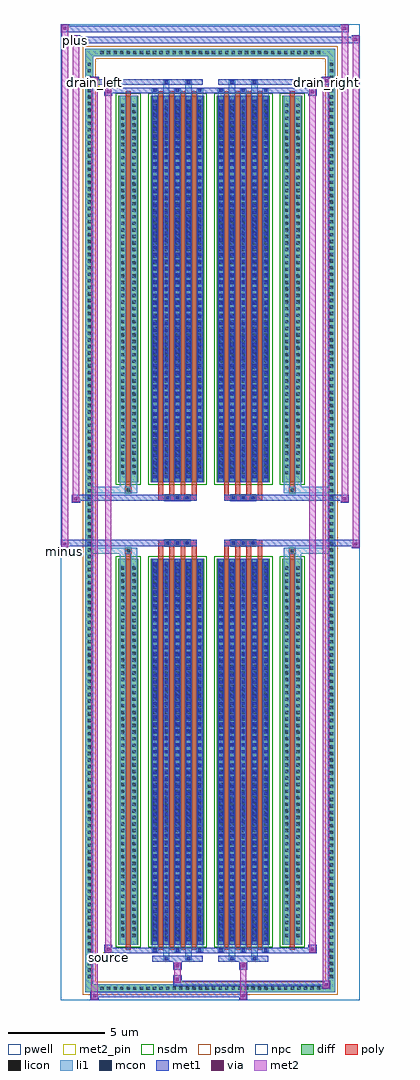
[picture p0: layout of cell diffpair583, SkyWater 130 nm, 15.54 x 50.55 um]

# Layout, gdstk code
import gdstk
lib = gdstk.Library(unit=1e-6, precision=5e-09)
def R(c, l, rs):  # rectangles x0, y0, x1, y1
    for r in rs: c.add(gdstk.rectangle(r[:2], r[2:], *l))
def A(c, l, x, y, w, h, nx, ny, dx, dy):  # array of equal rectangles
    R(c, l, [(x+i*dx, y+j*dy, x+i*dx+w, y+j*dy+h) for i in range(nx) for j in range(ny)])
def P(c, l, *ps):  # polygons
    for p in ps: c.add(gdstk.Polygon(p, *l))
pwell = (64, 44)
diff = (65, 20)
poly = (66, 20)
licon = (66, 44)
li1 = (67, 20)
mcon = (67, 44)
met1 = (68, 20)
via = (68, 44)
met2_pin = (69, 16)
met2 = (69, 20)
nsdm = (93, 44)
psdm = (94, 20)
npc = (95, 20)

diffpair583 = lib.new_cell('diffpair583')
R(diffpair583, pwell, [(-7.75,-24.84,7.75,25.71), (-5.07,-23.03,-0.01,-0.805), (0.01,-23.03,5.07,-0.805), (-5.07,0.805,-0.01,23.03), (0.01,0.805,5.07,23.03)])
A(diffpair583, diff, -5.815, -24.44, 0.41, 0.41, 34, 2, 0.34, 48.47)
A(diffpair583, diff, -6.48, -23.835, 0.41, 0.41, 1, 140, 0, 0.34)
A(diffpair583, diff, 6.07, -23.835, 0.41, 0.41, 1, 140, 0, 0.34)
R(diffpair583, diff, [(-5.815,-24.44,5.815,-24.03), (-6.48,-23.835,-6.07,23.835), (6.07,-23.835,6.48,23.835), (-4.76,-21.985,-3.73,-1.985), (-3.09,-21.985,-0.32,-1.985), (0.32,-21.985,3.09,-1.985), (3.73,-21.985,4.76,-1.985), (-4.76,1.985,-3.73,21.985), (-3.09,1.985,-0.32,21.985), (0.32,1.985,3.09,21.985), (3.73,1.985,4.76,21.985), (-5.815,24.03,5.815,24.44)])
P(diffpair583, diff, [(6.48,24.44),(-6.48,24.44),(-6.48,-24.03),(-6.07,-24.03),(-6.07,24.03),(6.07,24.03),(6.07,-24.03),(-6.07,-24.03),(-6.48,-24.03),(-6.48,-24.44),(6.48,-24.44)])
A(diffpair583, poly, -2.7, -22.235, 0.25, 20.5, 4, 2, 0.58, 23.97)
A(diffpair583, poly, 0.71, -22.235, 0.25, 20.5, 4, 2, 0.58, 23.97)
A(diffpair583, poly, -2.7, -1.735, 0.25, 0.4, 4, 2, 0.58, 3.07)
A(diffpair583, poly, 0.71, -1.735, 0.25, 0.4, 4, 2, 0.58, 3.07)
A(diffpair583, poly, -2.37, -1.335, 0.33, 0.33, 3, 2, 0.5, 2.34)
A(diffpair583, poly, 1.04, -1.335, 0.33, 0.33, 3, 2, 0.5, 2.34)
R(diffpair583, poly, [(-4.37,-22.235,-4.12,-1.735), (4.12,-22.235,4.37,-1.735), (-4.41,-1.735,-4.08,-1.405), (-4.41,-1.735,-4.08,-1.405), (4.08,-1.735,4.41,-1.405), (4.08,-1.735,4.41,-1.405), (-2.7,-1.335,-0.71,-1.005), (0.71,-1.335,2.7,-1.005), (-2.7,1.005,-0.71,1.335), (0.71,1.005,2.7,1.335), (-4.41,1.405,-4.08,1.735), (-4.41,1.405,-4.08,1.735), (4.08,1.405,4.41,1.735), (4.08,1.405,4.41,1.735), (-4.37,1.735,-4.12,22.235), (4.12,1.735,4.37,22.235)])
A(diffpair583, licon, -5.695, -24.32, 0.17, 0.17, 34, 2, 0.34, 48.47)
A(diffpair583, licon, -6.36, -23.715, 0.17, 0.17, 1, 140, 0, 0.34)
A(diffpair583, licon, 6.19, -23.715, 0.17, 0.17, 1, 140, 0, 0.34)
A(diffpair583, licon, -4.62, -21.59, 0.17, 0.17, 1, 57, 0, 0.34)
A(diffpair583, licon, -4.04, -21.59, 0.17, 0.17, 1, 57, 0, 0.34)
A(diffpair583, licon, -2.95, -21.59, 0.17, 0.17, 5, 57, 0.58, 0.34)
A(diffpair583, licon, 0.46, -21.59, 0.17, 0.17, 5, 57, 0.58, 0.34)
A(diffpair583, licon, 3.87, -21.59, 0.17, 0.17, 1, 57, 0, 0.34)
A(diffpair583, licon, 4.45, -21.59, 0.17, 0.17, 1, 57, 0, 0.34)
A(diffpair583, licon, -2.29, -1.255, 0.17, 0.17, 3, 2, 0.5, 2.34)
A(diffpair583, licon, 1.12, -1.255, 0.17, 0.17, 3, 2, 0.5, 2.34)
A(diffpair583, licon, -4.62, 2.38, 0.17, 0.17, 1, 57, 0, 0.34)
A(diffpair583, licon, -4.04, 2.38, 0.17, 0.17, 1, 57, 0, 0.34)
A(diffpair583, licon, -2.95, 2.38, 0.17, 0.17, 5, 57, 0.58, 0.34)
A(diffpair583, licon, 0.46, 2.38, 0.17, 0.17, 5, 57, 0.58, 0.34)
A(diffpair583, licon, 3.87, 2.38, 0.17, 0.17, 1, 57, 0, 0.34)
A(diffpair583, licon, 4.45, 2.38, 0.17, 0.17, 1, 57, 0, 0.34)
R(diffpair583, licon, [(-4.33,-1.655,-4.16,-1.485), (4.16,-1.655,4.33,-1.485), (-4.33,1.485,-4.16,1.655), (4.16,1.485,4.33,1.655)])
A(diffpair583, li1, -5.775, -24.4, 0.33, 0.33, 34, 2, 0.34, 48.47)
A(diffpair583, li1, -6.44, -23.795, 0.33, 0.33, 1, 140, 0, 0.34)
A(diffpair583, li1, 6.11, -23.795, 0.33, 0.33, 1, 140, 0, 0.34)
A(diffpair583, li1, -3.03, -22.36, 0.33, 0.375, 3, 2, 1.16, 44.345)
A(diffpair583, li1, -2.95, -22.36, 0.17, 0.17, 3, 2, 1.16, 44.55)
A(diffpair583, li1, 0.38, -22.36, 0.33, 0.375, 3, 2, 1.16, 44.345)
A(diffpair583, li1, 0.46, -22.36, 0.17, 0.17, 3, 2, 1.16, 44.55)
A(diffpair583, li1, -3.03, -21.985, 0.33, 20, 5, 2, 0.58, 23.97)
A(diffpair583, li1, 0.38, -21.985, 0.33, 20, 5, 2, 0.58, 23.97)
A(diffpair583, li1, -2.95, -21.79, 0.17, 0.17, 5, 55, 0.58, 0.36)
A(diffpair583, li1, -2.95, -21.79, 0.17, 19.61, 5, 2, 0.58, 23.97)
A(diffpair583, li1, 0.46, -21.79, 0.17, 0.17, 5, 55, 0.58, 0.36)
A(diffpair583, li1, 0.46, -21.79, 0.17, 19.61, 5, 2, 0.58, 23.97)
A(diffpair583, li1, -4.7, -21.67, 0.33, 0.33, 1, 57, 0, 0.34)
A(diffpair583, li1, -4.12, -21.67, 0.33, 0.33, 1, 57, 0, 0.34)
A(diffpair583, li1, -3.03, -21.67, 0.33, 0.33, 5, 57, 0.58, 0.34)
A(diffpair583, li1, 0.38, -21.67, 0.33, 0.33, 5, 57, 0.58, 0.34)
A(diffpair583, li1, 3.79, -21.67, 0.33, 0.33, 1, 57, 0, 0.34)
A(diffpair583, li1, 4.37, -21.67, 0.33, 0.33, 1, 57, 0, 0.34)
A(diffpair583, li1, -2.37, -1.335, 0.33, 0.33, 3, 2, 0.5, 2.34)
A(diffpair583, li1, 1.04, -1.335, 0.33, 0.33, 3, 2, 0.5, 2.34)
A(diffpair583, li1, -2.95, 2.18, 0.17, 0.17, 5, 55, 0.58, 0.36)
A(diffpair583, li1, 0.46, 2.18, 0.17, 0.17, 5, 55, 0.58, 0.36)
A(diffpair583, li1, -4.7, 2.3, 0.33, 0.33, 1, 57, 0, 0.34)
A(diffpair583, li1, -4.12, 2.3, 0.33, 0.33, 1, 57, 0, 0.34)
A(diffpair583, li1, -3.03, 2.3, 0.33, 0.33, 5, 57, 0.58, 0.34)
A(diffpair583, li1, 0.38, 2.3, 0.33, 0.33, 5, 57, 0.58, 0.34)
A(diffpair583, li1, 3.79, 2.3, 0.33, 0.33, 1, 57, 0, 0.34)
A(diffpair583, li1, 4.37, 2.3, 0.33, 0.33, 1, 57, 0, 0.34)
R(diffpair583, li1, [(-6.48,-24.44,-6.07,-24.03), (-6.48,-24.44,-6.07,-24.03), (-6.07,-24.44,6.07,-24.03), (6.07,-24.44,6.48,-24.03), (6.07,-24.44,6.48,-24.03), (-6.48,-24.03,-6.07,24.03), (6.07,-24.03,6.48,24.03), (-2.45,-22.79,-2.12,-21.985), (-2.37,-22.79,-2.2,-22.62), (-1.29,-22.79,-0.96,-21.985), (-1.21,-22.79,-1.04,-22.62), (0.96,-22.79,1.29,-21.985), (1.04,-22.79,1.21,-22.62), (2.12,-22.79,2.45,-21.985), (2.2,-22.79,2.37,-22.62), (-4.7,-21.985,-4.37,-1.985), (-4.12,-21.985,-3.79,-1.985), (3.79,-21.985,4.12,-1.985), (4.37,-21.985,4.7,-1.985), (-4.7,-1.985,-4.37,-1.405), (-4.12,-1.985,-3.79,-1.405), (3.79,-1.985,4.12,-1.405), (4.37,-1.985,4.7,-1.405), (-6.48,-1.735,-4.41,-1.405), (-4.7,-1.735,-4.41,-1.405), (-4.41,-1.735,-4.08,-1.405), (-4.08,-1.735,-3.79,-1.405), (3.79,-1.735,4.08,-1.405), (4.08,-1.735,4.41,-1.405), (4.08,-1.735,6.48,-1.405), (4.41,-1.735,4.7,-1.405), (-6.48,1.405,-4.41,1.735), (-4.7,1.405,-4.41,1.735), (-4.7,1.405,-4.37,1.985), (-4.41,1.405,-4.08,1.735), (-4.12,1.405,-3.79,1.985), (-4.08,1.405,-3.79,1.735), (3.79,1.405,4.08,1.735), (3.79,1.405,4.12,1.985), (4.08,1.405,4.41,1.735), (4.08,1.405,6.48,1.735), (4.37,1.405,4.7,1.985), (4.41,1.405,4.7,1.735), (-4.7,1.985,-4.37,21.985), (-4.12,1.985,-3.79,21.985), (3.79,1.985,4.12,21.985), (4.37,1.985,4.7,21.985), (-2.45,21.985,-2.12,22.79), (-1.29,21.985,-0.96,22.79), (0.96,21.985,1.29,22.79), (2.12,21.985,2.45,22.79), (-2.37,22.62,-2.2,22.79), (-1.21,22.62,-1.04,22.79), (1.04,22.62,1.21,22.79), (2.2,22.62,2.37,22.79), (-6.48,24.03,-6.07,24.44), (-6.48,24.03,-6.07,24.44), (-6.07,24.03,6.07,24.44), (6.07,24.03,6.48,24.44), (6.07,24.03,6.48,24.44)])
A(diffpair583, mcon, -2.95, -22.36, 0.17, 0.17, 3, 2, 1.16, 44.55)
A(diffpair583, mcon, 0.46, -22.36, 0.17, 0.17, 3, 2, 1.16, 44.55)
A(diffpair583, mcon, -2.95, -21.79, 0.17, 0.17, 5, 55, 0.58, 0.36)
A(diffpair583, mcon, 0.46, -21.79, 0.17, 0.17, 5, 55, 0.58, 0.36)
A(diffpair583, mcon, -2.29, -1.255, 0.17, 0.17, 3, 2, 0.5, 2.34)
A(diffpair583, mcon, 1.12, -1.255, 0.17, 0.17, 3, 2, 0.5, 2.34)
A(diffpair583, mcon, -2.95, 2.18, 0.17, 0.17, 5, 55, 0.58, 0.36)
A(diffpair583, mcon, 0.46, 2.18, 0.17, 0.17, 5, 55, 0.58, 0.36)
R(diffpair583, mcon, [(-2.37,-22.79,-2.2,-22.62), (-1.21,-22.79,-1.04,-22.62), (1.04,-22.79,1.21,-22.62), (2.2,-22.79,2.37,-22.62), (-2.37,22.62,-2.2,22.79), (-1.21,22.62,-1.04,22.79), (1.04,22.62,1.21,22.79), (2.2,22.62,2.37,22.79)])
A(diffpair583, met1, -3.01, -22.42, 0.29, 0.29, 3, 2, 1.16, 44.55)
A(diffpair583, met1, 0.4, -22.42, 0.29, 0.29, 3, 2, 1.16, 44.55)
A(diffpair583, met1, -3.01, -21.985, 0.29, 20, 5, 2, 0.58, 23.97)
A(diffpair583, met1, 0.4, -21.985, 0.29, 20, 5, 2, 0.58, 23.97)
A(diffpair583, met1, -3.01, -21.85, 0.29, 0.29, 5, 55, 0.58, 0.36)
A(diffpair583, met1, 0.4, -21.85, 0.29, 0.29, 5, 55, 0.58, 0.36)
A(diffpair583, met1, -2.35, -1.315, 0.29, 0.29, 3, 2, 0.5, 2.34)
A(diffpair583, met1, 1.06, -1.315, 0.29, 0.29, 3, 2, 0.5, 2.34)
A(diffpair583, met1, -3.01, 2.12, 0.29, 0.29, 5, 55, 0.58, 0.36)
A(diffpair583, met1, 0.4, 2.12, 0.29, 0.29, 5, 55, 0.58, 0.36)
R(diffpair583, met1, [(-6.21,-24.84,-5.78,-24.41), (1.49,-24.84,1.92,-24.41), (-6.21,-24.7,1.92,-24.41), (5.78,-24.27,6.21,-23.84), (-1.92,-24.13,6.21,-23.84), (-1.92,-23.99,-1.49,-23.56), (-1.92,-23.28,-1.49,-22.85), (1.49,-23.28,1.92,-22.85), (-3.01,-22.85,-0.4,-22.56), (-2.43,-22.85,-2.14,-22.56), (-1.27,-22.85,-0.98,-22.56), (0.4,-22.85,3.01,-22.56), (0.98,-22.85,1.27,-22.56), (2.14,-22.85,2.43,-22.56), (-5.5,-22.42,-5.07,-21.99), (-5.5,-22.42,-3.01,-22.13), (-3.01,-22.42,-0.4,-22.13), (-0.4,-22.42,0.4,-22.13), (0.4,-22.42,3.01,-22.13), (3.01,-22.42,5.5,-22.13), (5.07,-22.42,5.5,-21.99), (-7.75,-1.435,-7.32,-1.005), (7.32,-1.435,7.75,-1.005), (-7.75,-1.335,-0.71,-1.005), (-2.7,-1.335,-0.71,-1.005), (0.71,-1.335,2.7,-1.005), (0.71,-1.335,7.75,-1.005), (-7.18,0.905,-6.75,1.335), (6.75,0.905,7.18,1.335), (-7.18,1.005,-2.7,1.335), (-2.7,1.005,-0.71,1.335), (0.71,1.005,2.7,1.335), (2.7,1.005,7.18,1.335), (-5.5,21.99,-5.07,22.42), (5.07,21.99,5.5,22.42), (-5.5,22.13,-3.01,22.42), (-3.01,22.13,-0.4,22.42), (-0.4,22.13,0.4,22.42), (0.4,22.13,3.01,22.42), (3.01,22.13,5.5,22.42), (-6.21,22.56,-5.78,22.99), (-6.21,22.56,-3.01,22.85), (-3.01,22.56,-0.4,22.85), (-2.43,22.56,-2.14,22.85), (-1.27,22.56,-0.98,22.85), (0.4,22.56,3.01,22.85), (0.98,22.56,1.27,22.85), (2.14,22.56,2.43,22.85), (3.01,22.56,6.21,22.85), (5.78,22.56,6.21,22.99), (-7.18,24.71,-6.75,25.14), (-7.18,24.71,-5.07,25.04), (-5.07,24.71,5.07,25.04), (5.07,24.71,7.75,25.04), (7.32,24.71,7.75,25.14), (-7.75,25.28,-7.32,25.71), (-7.75,25.28,-5.07,25.61), (-5.07,25.28,5.07,25.61), (5.07,25.28,7.18,25.61), (6.75,25.28,7.18,25.71)])
R(diffpair583, via, [(-6.07,-24.7,-5.92,-24.55), (1.63,-24.7,1.78,-24.55), (5.92,-24.13,6.07,-23.98), (-1.78,-23.85,-1.63,-23.7), (-1.78,-23.14,-1.63,-22.99), (1.63,-23.14,1.78,-22.99), (-5.36,-22.28,-5.21,-22.13), (5.21,-22.28,5.36,-22.13), (-7.61,-1.295,-7.46,-1.145), (7.46,-1.295,7.61,-1.145), (-7.04,1.045,-6.89,1.195), (6.89,1.045,7.04,1.195), (-5.36,22.13,-5.21,22.28), (5.21,22.13,5.36,22.28), (-6.07,22.7,-5.92,22.85), (5.92,22.7,6.07,22.85), (-7.04,24.85,-6.89,25), (7.46,24.85,7.61,25), (-7.61,25.42,-7.46,25.57), (6.89,25.42,7.04,25.57)])
R(diffpair583, met2_pin, [(-5.535,-22.87,-5.035,-22.37), (-7.785,-1.885,-7.285,-1.385), (-6.245,22.44,-5.745,22.94), (5.745,22.44,6.245,22.94), (-7.215,24.59,-6.715,25.09)])
R(diffpair583, met2, [(-6.16,-24.79,-5.83,-24.46), (-6.16,-24.79,-5.83,22.94), (1.54,-24.79,1.87,-24.46), (1.54,-24.46,1.87,-23.23), (5.83,-24.22,6.16,-23.89), (5.83,-24.22,6.16,22.94), (-1.87,-23.94,-1.54,-23.61), (-1.87,-23.61,-1.54,-23.23), (-1.87,-23.23,-1.54,-22.9), (1.54,-23.23,1.87,-22.9), (-5.45,-22.37,-5.12,-22.04), (-5.45,-22.37,-5.12,22.37), (5.12,-22.37,5.45,-22.04), (5.12,-22.37,5.45,22.37), (-7.7,-1.385,-7.37,-1.055), (-7.7,-1.385,-7.37,25.66), (7.37,-1.385,7.7,-1.055), (7.37,-1.385,7.7,25.09), (-7.13,0.955,-6.8,1.285), (-7.13,0.955,-6.8,25.09), (6.8,0.955,7.13,1.285), (6.8,0.955,7.13,25.66), (-5.45,22.04,-5.12,22.37), (5.12,22.04,5.45,22.37), (-6.16,22.61,-5.83,22.94), (5.83,22.61,6.16,22.94), (-7.13,24.76,-6.8,25.09), (7.37,24.76,7.7,25.09), (-7.7,25.33,-7.37,25.66), (6.8,25.33,7.13,25.66)])
P(diffpair583, met2, [(7.7,-1.385),(7.7,-1.385),(7.7,-1.055),(7.7,-1.055)],
  [(7.7,24.76),(7.7,24.76),(7.7,25.09),(7.7,25.09)],
  [(-7.37,-1.385),(-7.37,-1.385),(-7.37,-1.055),(-7.37,-1.055)],
  [(-7.37,25.33),(-7.37,25.33),(-7.37,25.66),(-7.37,25.66)],
  [(7.13,0.955),(7.13,0.955),(7.13,1.285),(7.13,1.285)],
  [(7.13,25.33),(7.13,25.33),(7.13,25.66),(7.13,25.66)],
  [(-6.8,0.955),(-6.8,0.955),(-6.8,1.285),(-6.8,1.285)],
  [(-6.8,24.76),(-6.8,24.76),(-6.8,25.09),(-6.8,25.09)],
  [(-5.83,-24.79),(-5.83,-24.79),(-5.83,-24.46),(-5.83,-24.46)],
  [(-5.83,22.61),(-5.83,22.61),(-5.83,22.94),(-5.83,22.94)],
  [(6.16,-24.22),(6.16,-24.22),(6.16,-23.89),(6.16,-23.89)],
  [(6.16,22.61),(6.16,22.61),(6.16,22.94),(6.16,22.94)],
  [(-5.12,-22.37),(-5.12,-22.37),(-5.12,-22.04),(-5.12,-22.04)],
  [(-5.12,22.04),(-5.12,22.04),(-5.12,22.37),(-5.12,22.37)],
  [(5.45,-22.37),(5.45,-22.37),(5.45,-22.04),(5.45,-22.04)],
  [(5.45,22.04),(5.45,22.04),(5.45,22.37),(5.45,22.37)])
R(diffpair583, nsdm, [(-4.89,-22.115,-3.6,-1.855), (-3.22,-22.115,-0.19,-1.855), (0.19,-22.115,3.22,-1.855), (3.6,-22.115,4.89,-1.855), (-4.89,1.855,-3.6,22.115), (-3.22,1.855,-0.19,22.115), (0.19,1.855,3.22,22.115), (3.6,1.855,4.89,22.115)])
P(diffpair583, psdm, [(6.61,24.57),(-6.61,24.57),(-6.61,-23.9),(-5.94,-23.9),(-5.94,23.9),(5.94,23.9),(5.94,-23.9),(-5.94,-23.9),(-6.61,-23.9),(-6.61,-24.57),(6.61,-24.57)])
A(diffpair583, npc, -2.39, -1.355, 0.37, 0.37, 3, 2, 0.5, 2.34)
A(diffpair583, npc, 1.02, -1.355, 0.37, 0.37, 3, 2, 0.5, 2.34)
R(diffpair583, npc, [(-4.43,-1.755,-4.06,-1.385), (4.06,-1.755,4.43,-1.385), (-2.39,-1.355,-1.52,-0.985), (-2.39,-1.355,-1.52,-0.985), (-1.89,-1.355,-1.02,-0.985), (-1.89,-1.355,-1.02,-0.985), (1.02,-1.355,1.89,-0.985), (1.02,-1.355,1.89,-0.985), (1.52,-1.355,2.39,-0.985), (1.52,-1.355,2.39,-0.985), (-2.39,0.985,-1.52,1.355), (-2.39,0.985,-1.52,1.355), (-1.89,0.985,-1.02,1.355), (-1.89,0.985,-1.02,1.355), (1.02,0.985,1.89,1.355), (1.02,0.985,1.89,1.355), (1.52,0.985,2.39,1.355), (1.52,0.985,2.39,1.355), (-4.43,1.385,-4.06,1.755), (4.06,1.385,4.43,1.755)])
diffpair583.add(gdstk.Label('minus', (-7.535,-1.635), layer=69, texttype=5))
diffpair583.add(gdstk.Label('drain_right', (5.995,22.69), layer=69, texttype=5))
diffpair583.add(gdstk.Label('drain_left', (-5.995,22.69), layer=69, texttype=5))
diffpair583.add(gdstk.Label('source', (-5.285,-22.62), layer=69, texttype=5))
diffpair583.add(gdstk.Label('plus', (-6.965,24.84), layer=69, texttype=5))

lib.write_gds('diffpair583.gds')
